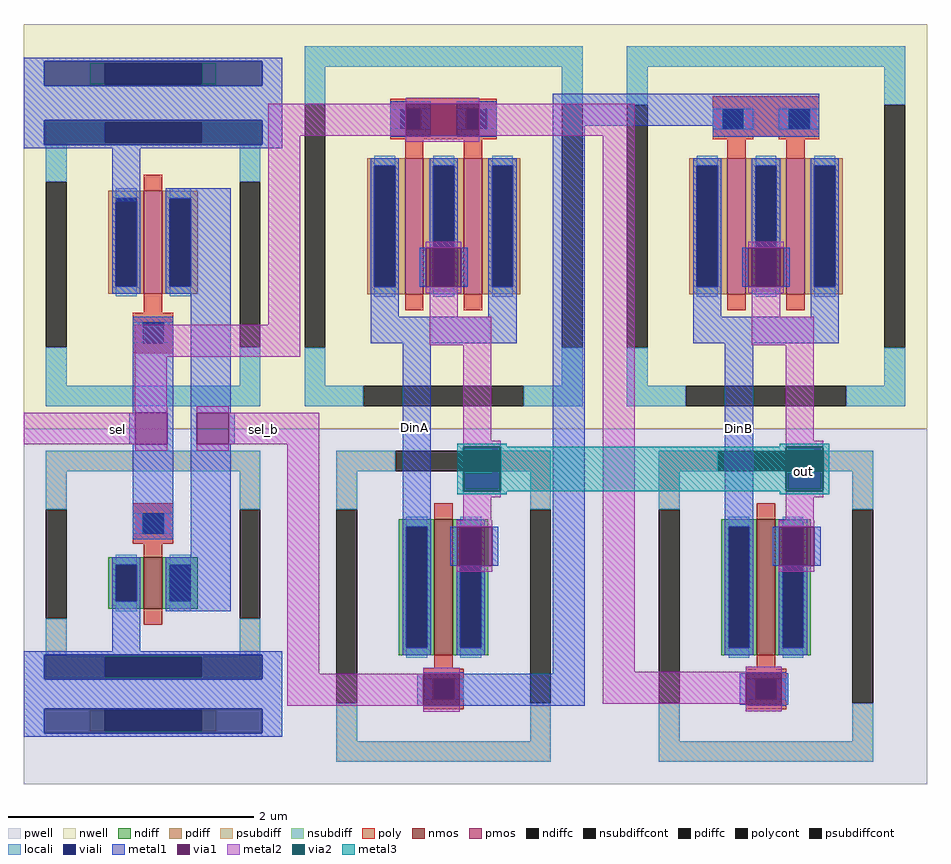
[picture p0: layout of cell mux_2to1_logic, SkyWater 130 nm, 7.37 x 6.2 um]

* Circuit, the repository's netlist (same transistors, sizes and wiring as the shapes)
**.subckt mux_2to1_logic DinB DinA avdd1p8 avss1p8 sel out
*.ipin DinB
*.ipin DinA
*.iopin avdd1p8
*.iopin avss1p8
*.ipin sel
*.opin out
XM5 out sel_b DinB avdd1p8 sky130_fd_pr__pfet_01v8 L=0.15 W=2.22 nf=1 ad='int((nf+1)/2) * W/nf * 0.29'
+ as='int((nf+2)/2) * W/nf * 0.29' pd='2*int((nf+1)/2) * (W/nf + 0.29)' ps='2*int((nf+2)/2) * (W/nf + 0.29)'
+ nrd='0.29 / W' nrs='0.29 / W' sa=0 sb=0 sd=0 mult=1 m=1 
XM6 DinB sel out avss1p8 sky130_fd_pr__nfet_01v8 L=0.15 W=1.11 nf=1 ad='int((nf+1)/2) * W/nf * 0.29'
+ as='int((nf+2)/2) * W/nf * 0.29' pd='2*int((nf+1)/2) * (W/nf + 0.29)' ps='2*int((nf+2)/2) * (W/nf + 0.29)'
+ nrd='0.29 / W' nrs='0.29 / W' sa=0 sb=0 sd=0 mult=1 m=1 
XM2 out sel DinA avdd1p8 sky130_fd_pr__pfet_01v8 L=0.15 W=2.22 nf=1 ad='int((nf+1)/2) * W/nf * 0.29'
+ as='int((nf+2)/2) * W/nf * 0.29' pd='2*int((nf+1)/2) * (W/nf + 0.29)' ps='2*int((nf+2)/2) * (W/nf + 0.29)'
+ nrd='0.29 / W' nrs='0.29 / W' sa=0 sb=0 sd=0 mult=1 m=1 
XM7 DinA sel_b out avss1p8 sky130_fd_pr__nfet_01v8 L=0.15 W=1.11 nf=1 ad='int((nf+1)/2) * W/nf * 0.29'
+ as='int((nf+2)/2) * W/nf * 0.29' pd='2*int((nf+1)/2) * (W/nf + 0.29)' ps='2*int((nf+2)/2) * (W/nf + 0.29)'
+ nrd='0.29 / W' nrs='0.29 / W' sa=0 sb=0 sd=0 mult=1 m=1 
x1 avdd1p8 sel_b sel avss1p8 inverter_min
**.ends

* expanding   symbol:  inverter_min.sym # of pins=4
* sym_path: /home/fsolis/caravel_eamta_2021/track_vlsi/toplevel_vlsi/sch/inverter_min.sym
* sch_path: /home/fsolis/caravel_eamta_2021/track_vlsi/toplevel_vlsi/sch/inverter_min.sch
.subckt inverter_min  vdd out in vss
*.iopin vss
*.ipin in
*.opin out
*.iopin vdd
XM2 out in vdd vdd sky130_fd_pr__pfet_01v8 L=0.15 W=0.84 nf=1 ad='int((nf+1)/2) * W/nf * 0.29' as='int((nf+2)/2) * W/nf * 0.29'
+ pd='2*int((nf+1)/2) * (W/nf + 0.29)' ps='2*int((nf+2)/2) * (W/nf + 0.29)' nrd='0.29 / W' nrs='0.29 / W'
+ sa=0 sb=0 sd=0 mult=1 m=1 
XM1 out in vss vss sky130_fd_pr__nfet_01v8 L=0.15 W=0.42 nf=1 ad='int((nf+1)/2) * W/nf * 0.29' as='int((nf+2)/2) * W/nf * 0.29'
+ pd='2*int((nf+1)/2) * (W/nf + 0.29)' ps='2*int((nf+2)/2) * (W/nf + 0.29)' nrd='0.29 / W' nrs='0.29 / W'
+ sa=0 sb=0 sd=0 mult=1 m=1 
.ends

** flattened .save nodes
.end

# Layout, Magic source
magic
tech sky130A
magscale 1 2
<< nwell >>
rect -475 579 -53 607
<< pwell >>
rect -53 -584 -1 -53
rect -475 -633 -1 -584
rect 421 -633 525 -53
rect 947 -633 999 -53
<< poly >>
rect 123 419 297 485
rect 649 423 823 489
<< metal1 >>
rect 138 425 148 477
rect 268 425 278 477
rect 388 441 823 493
rect 171 178 181 242
rect 239 178 249 242
rect 94 170 137 178
rect 91 129 137 170
rect 283 129 329 166
rect 91 86 329 129
rect 143 -204 189 86
rect 221 -277 231 -213
rect 289 -277 299 -213
rect 388 -453 440 441
rect 649 423 823 441
rect 697 178 707 242
rect 765 178 775 242
rect 620 170 663 178
rect 617 129 663 170
rect 809 129 855 166
rect 617 86 855 129
rect 669 -204 715 86
rect 747 -277 757 -213
rect 815 -277 825 -213
rect 167 -505 177 -453
rect 236 -505 440 -453
rect 693 -504 703 -452
rect 762 -504 772 -452
<< via1 >>
rect 148 425 268 477
rect 181 178 239 242
rect 231 -277 289 -213
rect 707 178 765 242
rect 757 -277 815 -213
rect 177 -505 236 -453
rect 703 -504 762 -452
<< metal2 >>
rect 148 477 268 487
rect -76 425 148 477
rect 268 425 522 477
rect -76 116 -24 425
rect 148 415 268 425
rect 181 242 239 252
rect 181 168 239 178
rect -294 64 -24 116
rect 187 129 233 168
rect 187 83 288 129
rect -294 -27 -242 64
rect -345 -79 -242 -27
rect -105 -79 7 -27
rect -45 -453 7 -79
rect 242 -73 288 83
rect 242 -83 303 -73
rect 242 -165 303 -155
rect 242 -203 288 -165
rect 231 -213 289 -203
rect 231 -287 289 -277
rect 177 -453 236 -443
rect -45 -505 177 -453
rect 470 -450 522 425
rect 707 242 765 252
rect 707 168 765 178
rect 713 129 759 168
rect 713 83 814 129
rect 768 -73 814 83
rect 768 -83 829 -73
rect 768 -165 829 -155
rect 768 -203 814 -165
rect 757 -213 815 -203
rect 757 -287 815 -277
rect 703 -450 762 -442
rect 470 -452 762 -450
rect 470 -502 703 -452
rect 177 -515 236 -505
rect 703 -514 762 -504
<< via2 >>
rect 242 -155 303 -83
rect 768 -155 829 -83
<< metal3 >>
rect 232 -83 313 -78
rect 758 -83 839 -78
rect 232 -155 242 -83
rect 303 -155 768 -83
rect 829 -155 839 -83
rect 232 -160 313 -155
rect 758 -160 839 -155
use sky130_fd_pr__pfet_01v8_XA7ZMQ  sky130_fd_pr__pfet_01v8_XA7ZMQ_0
transform 1 0 210 0 1 277
box -263 -330 263 330
use sky130_fd_pr__nfet_01v8_HAN8QX  sky130_fd_pr__nfet_01v8_HAN8QX_1
transform 1 0 736 0 -1 -343
box -211 -290 211 290
use sky130_fd_pr__pfet_01v8_XA7ZMQ  sky130_fd_pr__pfet_01v8_XA7ZMQ_1
transform 1 0 736 0 1 277
box -263 -330 263 330
use sky130_fd_pr__nfet_01v8_HAN8QX  sky130_fd_pr__nfet_01v8_HAN8QX_0
transform 1 0 210 0 -1 -343
box -211 -290 211 290
use inverter_min  inverter_min_0
transform 1 0 -422 0 1 -600
box -53 16 369 1179
<< labels >>
rlabel metal2 -332 -64 -311 -46 1 sel
rlabel metal2 -94 -63 -73 -45 1 sel_b
rlabel metal1 152 -61 173 -43 1 DinA
rlabel metal1 681 -62 702 -44 1 DinB
rlabel via2 786 -132 807 -114 1 out
<< end >>

# cell sky130_fd_pr__pfet_01v8_XA7ZMQ: kit device sky130_fd_pr__pfet_01v8, w 1.11 l 0.15 m 1 nf 2 diffcov 100 polycov 100 guard 1 glc 1 grc 1 gtc 1 gbc 1 tbcov 100 rlcov 100 topc 1 botc 1 poverlap 0 doverlap 1 lmin 0.15 wmin 0.42 compatible {sky130_fd_pr__pfet_01v8 sky130_fd_pr__pfet_01v8_lvt sky130_fd_pr__pfet_01v8_hvt sky130_fd_pr__pfet_g5v0d10v5} full_metal 1 viasrc 100 viadrn 100 viagate 100 viagb 0 viagr 0 viagl 0 viagt 0

# cell sky130_fd_pr__nfet_01v8_HAN8QX: kit device sky130_fd_pr__nfet_01v8, w 1.11 l 0.150 m 1 nf 1 diffcov 100 polycov 100 guard 1 glc 1 grc 1 gtc 0 gbc 1 tbcov 100 rlcov 100 topc 1 botc 0 poverlap 0 doverlap 1 lmin 0.15 wmin 0.42 compatible {sky130_fd_pr__nfet_01v8 sky130_fd_pr__nfet_01v8_lvt sky130_fd_bs_flash__special_sonosfet_star sky130_fd_pr__nfet_g5v0d10v5 sky130_fd_pr__nfet_05v0_nvt sky130_fd_pr__nfet_03v3_nvt} full_metal 1 viasrc 100 viadrn 100 viagate 100 viagb 0 viagr 0 viagl 0 viagt 0

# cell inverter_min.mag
magic
tech sky130A
magscale 1 2
<< nwell >>
rect -53 1083 369 1179
<< pwell >>
rect -53 112 355 124
rect -53 16 369 112
<< psubdiff >>
rect 55 53 79 87
rect 237 53 261 87
<< nsubdiff >>
rect 55 1109 79 1143
rect 237 1109 261 1143
<< psubdiffcont >>
rect 79 53 237 87
<< nsubdiffcont >>
rect 79 1109 237 1143
<< viali >>
rect -20 1143 336 1146
rect -20 1109 79 1143
rect 79 1109 237 1143
rect 237 1109 336 1143
rect -20 1106 336 1109
rect -20 1010 336 1050
rect -20 138 336 178
rect -20 87 336 90
rect -20 53 79 87
rect 79 53 237 87
rect 237 53 336 87
rect -20 50 336 53
<< metal1 >>
rect -53 1146 369 1152
rect -53 1106 -20 1146
rect 336 1106 369 1146
rect -53 1050 369 1106
rect -53 1010 -20 1050
rect 336 1010 369 1050
rect -53 1004 369 1010
rect 91 918 137 1004
rect 179 922 285 939
rect 125 573 191 729
rect 119 521 129 573
rect 181 521 191 573
rect 125 366 191 521
rect 219 573 285 922
rect 219 521 229 573
rect 281 521 291 573
rect 219 337 285 521
rect 91 184 137 257
rect 179 249 285 337
rect -53 178 369 184
rect -53 138 -20 178
rect 336 138 369 178
rect -53 90 369 138
rect -53 50 -20 90
rect 336 50 369 90
rect -53 44 369 50
<< via1 >>
rect 129 521 181 573
rect 229 521 281 573
<< metal2 >>
rect 129 573 181 583
rect -53 521 129 573
rect 129 511 181 521
rect 229 573 281 583
rect 281 521 369 573
rect 229 511 281 521
use sky130_fd_pr__pfet_01v8_6RX2PQ  XM2
transform 1 0 158 0 1 815
box -211 -268 211 268
use sky130_fd_pr__nfet_01v8_L78GGD  XM1
transform 1 0 158 0 1 326
box -211 -221 211 221
<< labels >>
rlabel metal2 281 521 369 573 1 out
port 2 n
rlabel metal2 -53 521 129 573 1 in
port 3 n
rlabel metal1 -53 90 369 138 1 vss
port 4 n
rlabel metal1 -53 1050 369 1106 1 vdd
port 1 n
<< end >>

# cell sky130_fd_pr__pfet_01v8_6RX2PQ: kit device sky130_fd_pr__pfet_01v8, w 0.84 l 0.15 m 1 nf 1 diffcov 100 polycov 100 guard 1 glc 1 grc 1 gtc 1 gbc 0 tbcov 100 rlcov 100 topc 0 botc 1 poverlap 0 doverlap 1 lmin 0.15 wmin 0.42 compatible {sky130_fd_pr__pfet_01v8 sky130_fd_pr__pfet_01v8_lvt sky130_fd_pr__pfet_01v8_hvt sky130_fd_pr__pfet_g5v0d10v5} full_metal 1 viasrc 100 viadrn 100 viagate 100 viagb 0 viagr 0 viagl 0 viagt 0

# cell sky130_fd_pr__nfet_01v8_L78GGD: kit device sky130_fd_pr__nfet_01v8, w 0.42 l 0.15 m 1 nf 1 diffcov 100 polycov 100 guard 1 glc 1 grc 1 gtc 0 gbc 1 tbcov 100 rlcov 100 topc 1 botc 0 poverlap 0 doverlap 1 lmin 0.15 wmin 0.42 compatible {sky130_fd_pr__nfet_01v8 sky130_fd_pr__nfet_01v8_lvt sky130_fd_bs_flash__special_sonosfet_star sky130_fd_pr__nfet_g5v0d10v5 sky130_fd_pr__nfet_05v0_nvt sky130_fd_pr__nfet_03v3_nvt} full_metal 1 viasrc 100 viadrn 100 viagate 100 viagb 0 viagr 0 viagl 0 viagt 0
